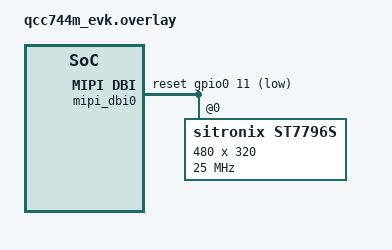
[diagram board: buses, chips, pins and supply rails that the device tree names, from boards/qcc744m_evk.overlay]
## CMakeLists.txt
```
# Copyright (c) 2026 Qualcomm Technologies, Inc. and/or its subsidiaries
# SPDX-License-Identifier: BSD-3-Clause

cmake_minimum_required(VERSION 3.20.0)
find_package(Zephyr REQUIRED HINTS $ENV{ZEPHYR_BASE})

project(demo_display)
FILE(GLOB app_sources src/*.c)
target_sources(app PRIVATE ${app_sources})
```

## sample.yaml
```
# Copyright (c) 2026 Qualcomm Technologies, Inc. and/or its subsidiaries
# SPDX-License-Identifier: BSD-3-Clause

tests:
  qcc7xx.sample.drivers.display:
    harness: console
    harness_config:
      type: one_line
      regex:
        - "Color gradient1 written to display"
    platform_allow:
      - qcc744m_evk
      - qcc748m_evk
      - qcc75xm_evk
```

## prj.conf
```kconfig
# Copyright (c) 2026 Qualcomm Technologies, Inc. and/or its subsidiaries
# SPDX-License-Identifier: BSD-3-Clause

# Logging for debugging
CONFIG_DEBUG=n
CONFIG_LOG=y
CONFIG_LOG_MODE_MINIMAL=y
CONFIG_CBPRINTF_FP_SUPPORT=y

CONFIG_DMA_LOG_LEVEL_ERR=y
CONFIG_MIPI_DBI_LOG_LEVEL_ERR=y
CONFIG_DISPLAY_LOG_LEVEL_ERR=y

# Enable display subsystem
CONFIG_DISPLAY=y

# MIPI-DBI
CONFIG_MIPI_DBI_QCC74X_USE_DMA=y

# ST7796S
CONFIG_ST7796S=y

# common
CONFIG_MAIN_STACK_SIZE=8192
CONFIG_COMMON_LIBC_MALLOC_ARENA_SIZE=8192
```

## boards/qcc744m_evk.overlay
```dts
/*
 * Copyright (c) 2026 Qualcomm Technologies, Inc. and/or its subsidiaries
 *
 * SPDX-License-Identifier: BSD-3-Clause
 */

/ {
	chosen {
	zephyr,display = &st7796s;
	};
};

&dma {
	status = "okay";
};

&mipi_dbi0 {
	status = "okay";
	dmas = <&dma 3  DMA_REQUEST_DBI_TX  DMA_ADDR_DBI_TDR>;
	pinctrl-names = "default";
	pinctrl-0 = <&mipi_dbi0_typeC_4wire_default>;
	mipi-mode = "MIPI_DBI_MODE_SPI_4WIRE";
	clock-frequency = <30000000>;
	reset-gpios = <&gpio0 11 GPIO_ACTIVE_LOW>;

	st7796s: st7796s@0 {
			compatible = "sitronix,st7796s";
			status = "okay";
			mipi-mode = "MIPI_DBI_MODE_SPI_4WIRE";
			mipi-max-frequency = <25000000>;
			reg = <0>;
			height = <320>;
			width = <480>;
			invert-mode = "1-dot";
			frmctl1 = [80 10];
			bpc = [1F 50 00 20];
			dfc = [8A 07 3B];
			pwr1 = [80 64];
			pwr2 = <0x13>;
			pwr3 = <0xA7>;
			vcmpctl = <0x09>;
			doca = [40 8A 00 00 29 19 A5 38];
			pgc = [F0 06 0B 07 06 05 2E 33 47 3A 17 16 2E 31];
			ngc = [F0 09 0D 09 08 23 2E 33 46 38 13 13 2C 32];
			madctl = <0x28>;
	};
};

&pinctrl {

	/* DBI typeC 4wire mode */
	mipi_dbi0_typeC_4wire_default: mipi_dbi0_typeC_4wire_default {
		group1 {
			pinmux = <GPIO12_DBI_TypeC_SCL>, <GPIO13_DBI_TypeC_CSn>, <GPIO14_DBI_TypeC_SDA0>, <GPIO15_DBI_TypeC_DCn>;
			bias-pull-up;
			input-schmitt-enable;
			drive-strength = <2>;
			input-enable;
		};
	};
};
```

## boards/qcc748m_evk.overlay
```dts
/*
 * Copyright (c) 2026 Qualcomm Technologies, Inc. and/or its subsidiaries
 *
 * SPDX-License-Identifier: BSD-3-Clause
 */

/ {
	chosen {
	zephyr,display = &st7796s;
	};
};

&dma {
	status = "okay";
};

&mipi_dbi0 {
	status = "okay";
	dmas = <&dma 3  DMA_REQUEST_DBI_TX  DMA_ADDR_DBI_TDR>;
	pinctrl-names = "default";
	pinctrl-0 = <&mipi_dbi0_typeC_4wire_default>;
	mipi-mode = "MIPI_DBI_MODE_SPI_4WIRE";
	clock-frequency = <30000000>;
	reset-gpios = <&gpio0 11 GPIO_ACTIVE_LOW>;

	st7796s: st7796s@0 {
			compatible = "sitronix,st7796s";
			status = "okay";
			mipi-mode = "MIPI_DBI_MODE_SPI_4WIRE";
			mipi-max-frequency = <25000000>;
			reg = <0>;
			height = <320>;
			width = <480>;
			invert-mode = "1-dot";
			frmctl1 = [80 10];
			bpc = [1F 50 00 20];
			dfc = [8A 07 3B];
			pwr1 = [80 64];
			pwr2 = <0x13>;
			pwr3 = <0xA7>;
			vcmpctl = <0x09>;
			doca = [40 8A 00 00 29 19 A5 38];
			pgc = [F0 06 0B 07 06 05 2E 33 47 3A 17 16 2E 31];
			ngc = [F0 09 0D 09 08 23 2E 33 46 38 13 13 2C 32];
			madctl = <0x28>;
	};
};

&pinctrl {

	/* DBI typeC 4wire mode */
	mipi_dbi0_typeC_4wire_default: mipi_dbi0_typeC_4wire_default {
		group1 {
			pinmux = <DBI_C_SCL_GPIO12>,
				<DBI_C_CSn_GPIO13>,
				<DBI_C_SDA0_GPIO14>,
				<DBI_C_DCn_GPIO15>;
			bias-pull-up;
			input-schmitt-enable;
			drive-strength = <2>;
			input-enable;
		};
	};
};
```

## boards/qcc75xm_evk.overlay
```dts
/*
 * Copyright (c) 2026 Qualcomm Technologies, Inc. and/or its subsidiaries
 *
 * SPDX-License-Identifier: BSD-3-Clause
 */

/ {
	chosen {
	zephyr,display = &st7796s;
	};
};

&dma {
	status = "okay";
};

&mipi_dbi0 {
	status = "okay";
	dmas = <&dma 3  DMA_REQUEST_DBI_TX  DMA_ADDR_DBI_TDR>;
	pinctrl-names = "default";
	pinctrl-0 = <&mipi_dbi0_typeC_4wire_default>;
	mipi-mode = "MIPI_DBI_MODE_SPI_4WIRE";
	clock-frequency = <30000000>;
	reset-gpios = <&gpio0 11 GPIO_ACTIVE_LOW>;

	st7796s: st7796s@0 {
			compatible = "sitronix,st7796s";
			status = "okay";
			mipi-mode = "MIPI_DBI_MODE_SPI_4WIRE";
			mipi-max-frequency = <25000000>;
			reg = <0>;
			height = <320>;
			width = <480>;
			invert-mode = "1-dot";
			frmctl1 = [80 10];
			bpc = [1F 50 00 20];
			dfc = [8A 07 3B];
			pwr1 = [80 64];
			pwr2 = <0x13>;
			pwr3 = <0xA7>;
			vcmpctl = <0x09>;
			doca = [40 8A 00 00 29 19 A5 38];
			pgc = [F0 06 0B 07 06 05 2E 33 47 3A 17 16 2E 31];
			ngc = [F0 09 0D 09 08 23 2E 33 46 38 13 13 2C 32];
			madctl = <0x28>;
	};
};

&pinctrl {

	/* DBI typeC 4wire mode */
	mipi_dbi0_typeC_4wire_default: mipi_dbi0_typeC_4wire_default {
		group1 {
			pinmux = <GPIO11_DBI_TypeC_SCL>, <GPIO12_DBI_TypeC_CSn>, <GPIO13_DBI_TypeC_SDA0>, <GPIO14_DBI_TypeC_DCn>;
			bias-pull-up;
			input-schmitt-enable;
			drive-strength = <2>;
			input-enable;
		};
	};
};
```

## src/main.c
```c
/*
 * Copyright (c) 2026 Qualcomm Technologies, Inc. and/or its subsidiaries
 * SPDX-License-Identifier: Apache-2.0
 */

#include <zephyr/kernel.h>
#include <zephyr/device.h>
#include <zephyr/drivers/display.h>
#include <zephyr/logging/log.h>

LOG_MODULE_REGISTER(main, LOG_LEVEL_INF);

#define DISP_NODE DT_CHOSEN(zephyr_display)
#define WIDTH     DT_PROP(DISP_NODE, width)
#define HEIGHT    DT_PROP(DISP_NODE, height)

/* Simple 16-bit RGB565 buffer (one line only to save RAM) */
static uint16_t __aligned(32) line_buf[WIDTH];

int main(void)
{
	const struct device *display_dev;

	display_dev = DEVICE_DT_GET(DISP_NODE);
	if (!device_is_ready(display_dev)) {
		LOG_ERR("Display device not ready");
		return -1;
	}

	LOG_INF("Display device initialized: %s", display_dev->name);

	display_blanking_off(display_dev);

	struct display_buffer_descriptor buf_desc = {
		.width = WIDTH,
		.height = 1, /* one row at a time */
		.pitch = WIDTH,
		.buf_size = WIDTH * 2,
	};

	while (1) {

		/* Fill screen with vertical gradient */
		for (int y = 0; y < HEIGHT; y++) {
			uint16_t color =
				((y & 0x1F) << 11) | ((y & 0x3F) << 5); // red+green gradient
			for (int x = 0; x < WIDTH; x++) {
				line_buf[x] = color;
			}
			display_write(display_dev, 0, y, &buf_desc, line_buf);
		}

		LOG_INF("Color gradient1 written to display");
		k_sleep(K_SECONDS(2));

		/* Fill screen with vertical gradient */
		for (int y = 0; y < HEIGHT; y++) {
			uint16_t color = (y & 0x1F); // blue
			for (int x = 0; x < WIDTH; x++) {
				line_buf[x] = color;
			}
			display_write(display_dev, 0, y, &buf_desc, line_buf);
		}

		LOG_INF("Color gradient2 written to display");
		k_sleep(K_SECONDS(2));
	}
}
```
